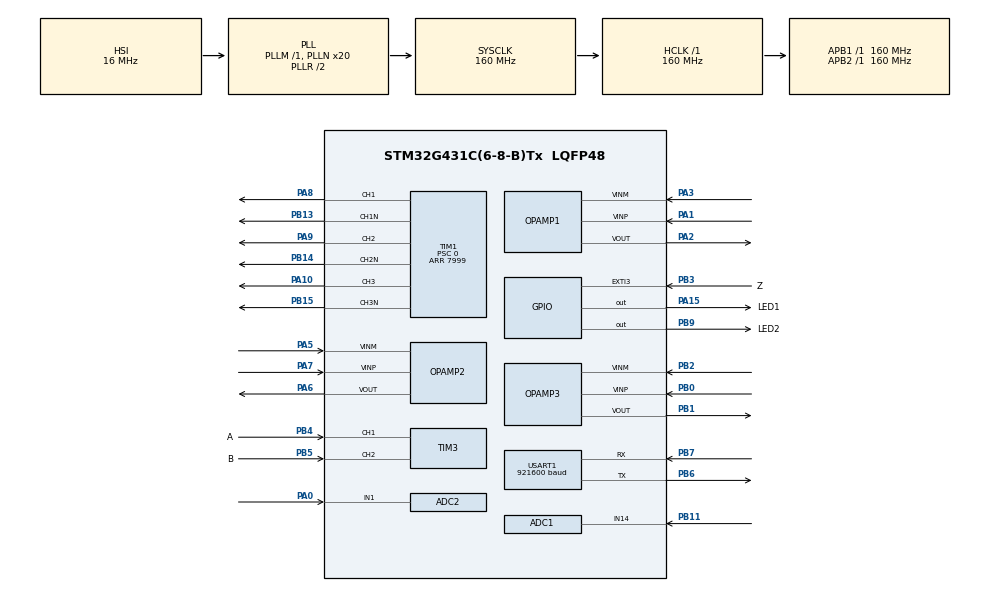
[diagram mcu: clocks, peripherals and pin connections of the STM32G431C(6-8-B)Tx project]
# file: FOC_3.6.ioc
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ADC1.Channel-0\#ChannelRegularConversion=ADC_CHANNEL_14
ADC1.ClockPrescaler=ADC_CLOCK_ASYNC_DIV4
ADC1.EnableInjectedConversion=ENABLE
ADC1.ExternalTrigInjecConv=ADC_EXTERNALTRIGINJEC_T1_CC4
ADC1.InjNumberOfConversion=2
ADC1.InjectedChannel-1\#ChannelInjectedConversion=ADC_CHANNEL_3
ADC1.InjectedChannel-2\#ChannelInjectedConversion=ADC_CHANNEL_12
ADC1.InjectedOffsetNumber-1\#ChannelInjectedConversion=ADC_OFFSET_NONE
ADC1.InjectedOffsetNumber-2\#ChannelInjectedConversion=ADC_OFFSET_NONE
ADC1.InjectedRank-1\#ChannelInjectedConversion=1
ADC1.InjectedRank-2\#ChannelInjectedConversion=2
ADC1.InjectedSamplingTime-1\#ChannelInjectedConversion=ADC_SAMPLETIME_6CYCLES_5
ADC1.InjectedSamplingTime-2\#ChannelInjectedConversion=ADC_SAMPLETIME_6CYCLES_5
ADC1.NbrOfConversionFlag=1
ADC1.OffsetNumber-0\#ChannelRegularConversion=ADC_OFFSET_NONE
ADC1.Rank-0\#ChannelRegularConversion=1
ADC1.SamplingTime-0\#ChannelRegularConversion=ADC_SAMPLETIME_2CYCLES_5
ADC1.master=1
ADC2.Channel-0\#ChannelRegularConversion=ADC_CHANNEL_1
ADC2.ClockPrescaler=ADC_CLOCK_ASYNC_DIV4
ADC2.EnableInjectedConversion=ENABLE
ADC2.ExternalTrigInjecConv=ADC_EXTERNALTRIGINJEC_T1_CC4
ADC2.InjNumberOfConversion=1
ADC2.InjectedChannel-1\#ChannelInjectedConversion=ADC_CHANNEL_3
ADC2.InjectedOffsetNumber-1\#ChannelInjectedConversion=ADC_OFFSET_NONE
ADC2.InjectedRank-1\#ChannelInjectedConversion=1
ADC2.InjectedSamplingTime-1\#ChannelInjectedConversion=ADC_SAMPLETIME_6CYCLES_5
ADC2.NbrOfConversionFlag=1
ADC2.OffsetNumber-0\#ChannelRegularConversion=ADC_OFFSET_NONE
ADC2.Rank-0\#ChannelRegularConversion=1
ADC2.SamplingTime-0\#ChannelRegularConversion=ADC_SAMPLETIME_2CYCLES_5
Dma.Request0=USART1_RX
Dma.Request1=USART1_TX
Dma.USART1_RX.0.Direction=DMA_PERIPH_TO_MEMORY
Dma.USART1_RX.0.EventEnable=DISABLE
Dma.USART1_RX.0.Instance=DMA1_Channel1
Dma.USART1_RX.0.MemDataAlignment=DMA_MDATAALIGN_BYTE
Dma.USART1_RX.0.MemInc=DMA_MINC_ENABLE
Dma.USART1_RX.0.Mode=DMA_NORMAL
Dma.USART1_RX.0.PeriphDataAlignment=DMA_PDATAALIGN_BYTE
Dma.USART1_RX.0.PeriphInc=DMA_PINC_DISABLE
Dma.USART1_RX.0.Polarity=HAL_DMAMUX_REQ_GEN_RISING
Dma.USART1_RX.0.Priority=DMA_PRIORITY_LOW
Dma.USART1_RX.0.RequestNumber=1
Dma.USART1_RX.0.SignalID=NONE
Dma.USART1_RX.0.SyncEnable=DISABLE
Dma.USART1_RX.0.SyncPolarity=HAL_DMAMUX_SYNC_NO_EVENT
Dma.USART1_RX.0.SyncRequestNumber=1
Dma.USART1_RX.0.SyncSignalID=NONE
Dma.USART1_TX.1.Direction=DMA_MEMORY_TO_PERIPH
Dma.USART1_TX.1.EventEnable=DISABLE
Dma.USART1_TX.1.Instance=DMA1_Channel2
Dma.USART1_TX.1.MemDataAlignment=DMA_MDATAALIGN_BYTE
Dma.USART1_TX.1.MemInc=DMA_MINC_ENABLE
Dma.USART1_TX.1.Mode=DMA_NORMAL
Dma.USART1_TX.1.PeriphDataAlignment=DMA_PDATAALIGN_BYTE
Dma.USART1_TX.1.PeriphInc=DMA_PINC_DISABLE
Dma.USART1_TX.1.Polarity=HAL_DMAMUX_REQ_GEN_RISING
Dma.USART1_TX.1.Priority=DMA_PRIORITY_LOW
Dma.USART1_TX.1.RequestNumber=1
Dma.USART1_TX.1.SignalID=NONE
Dma.USART1_TX.1.SyncEnable=DISABLE
Dma.USART1_TX.1.SyncPolarity=HAL_DMAMUX_SYNC_NO_EVENT
Dma.USART1_TX.1.SyncRequestNumber=1
Dma.USART1_TX.1.SyncSignalID=NONE
Mcu.Family=STM32G4
Mcu.Name=STM32G431C(6-8-B)Tx
Mcu.Package=LQFP48
NVIC.ADC1_2_IRQn=true\:0\:0\:false\:false\:true\:true\:true\:true
NVIC.DMA1_Channel1_IRQn=true\:0\:0\:false\:false\:true\:false\:true\:true
NVIC.DMA1_Channel2_IRQn=true\:0\:0\:false\:false\:true\:false\:true\:true
NVIC.EXTI3_IRQn=true\:0\:0\:false\:false\:true\:true\:true\:true
NVIC.PriorityGroup=NVIC_PRIORITYGROUP_4
NVIC.TIM1_UP_TIM16_IRQn=true\:0\:0\:false\:false\:true\:true\:true\:true
NVIC.TIM2_IRQn=true\:0\:0\:false\:false\:true\:true\:true\:true
NVIC.USART1_IRQn=true\:2\:0\:false\:false\:true\:true\:true\:true
PA0.Mode=IN1-Single-Ended
PA0.Signal=ADC2_IN1
PA1.Mode=Standalone
PA1.Signal=OPAMP1_VINP
PA10.Signal=S_TIM1_CH3
PA13.Mode=Serial_Wire
PA13.Signal=SYS_JTMS-SWDIO
PA14.Mode=Serial_Wire
PA14.Signal=SYS_JTCK-SWCLK
PA15.GPIO_Label=LED1
PA15.Signal=GPIO_Output
PA2.Signal=SharedAnalog_PA2
PA3.Mode=Standalone
PA3.Signal=OPAMP1_VINM
PA5.Mode=Standalone
PA5.Signal=OPAMP2_VINM
PA6.Signal=SharedAnalog_PA6
PA7.Mode=Standalone
PA7.Signal=OPAMP2_VINP
PA8.Signal=S_TIM1_CH1
PA9.Signal=S_TIM1_CH2
PB0.Mode=Standalone
PB0.Signal=OPAMP3_VINP
PB1.Signal=SharedAnalog_PB1
PB11.Mode=IN14-Single-Ended
PB11.Signal=ADC1_IN14
PB13.Mode=PWM Generation1 CH1 CH1N
PB13.Signal=TIM1_CH1N
PB14.Mode=PWM Generation2 CH2 CH2N
PB14.Signal=TIM1_CH2N
PB15.Mode=PWM Generation3 CH3 CH3N
PB15.Signal=TIM1_CH3N
PB2.Mode=Standalone
PB2.Signal=OPAMP3_VINM
PB3.GPIO_Label=Z
PB3.GPIO_PuPd=GPIO_PULLUP
PB3.Signal=GPXTI3
PB4.GPIO_Label=A
PB4.GPIO_PuPd=GPIO_PULLUP
PB4.Signal=S_TIM3_CH1
PB5.GPIO_Label=B
PB5.GPIO_PuPd=GPIO_PULLUP
PB5.Signal=S_TIM3_CH2
PB6.Mode=Asynchronous
PB6.Signal=USART1_TX
PB7.Mode=Asynchronous
PB7.Signal=USART1_RX
PB9.GPIO_Label=LED2
PB9.GPIO_PuPd=GPIO_PULLUP
PB9.Signal=GPIO_Output
PC14-OSC32_IN.Mode=LSE-External-Oscillator
PC14-OSC32_IN.Signal=RCC_OSC32_IN
PC15-OSC32_OUT.Mode=LSE-External-Oscillator
PC15-OSC32_OUT.Signal=RCC_OSC32_OUT
PF0-OSC_IN.Mode=HSE-External-Oscillator
PF0-OSC_IN.Signal=RCC_OSC_IN
PF1-OSC_OUT.Mode=HSE-External-Oscillator
PF1-OSC_OUT.Signal=RCC_OSC_OUT
ProjectManager.HeapSize=0x200
ProjectManager.StackSize=0x400
ProjectManager.TargetToolchain=MDK-ARM V5.32
RCC.ADC12Freq_Value=160000000
RCC.AHBFreq_Value=160000000
RCC.APB1Freq_Value=160000000
RCC.APB1TimFreq_Value=160000000
RCC.APB2Freq_Value=160000000
RCC.APB2TimFreq_Value=160000000
RCC.CortexFreq_Value=160000000
RCC.EXTERNAL_CLOCK_VALUE=12288000
RCC.HCLKFreq_Value=160000000
RCC.HSE_VALUE=8000000
RCC.HSI48_VALUE=48000000
RCC.HSI_VALUE=16000000
RCC.PLLN=20
RCC.SYSCLKFreq_VALUE=160000000
RCC.SYSCLKSource=RCC_SYSCLKSOURCE_PLLCLK
RCC.USBFreq_Value=160000000
RCC.VCOOutputFreq_Value=320000000
SH.S_TIM1_CH1.0=TIM1_CH1,PWM Generation1 CH1 CH1N
SH.S_TIM1_CH2.0=TIM1_CH2,PWM Generation2 CH2 CH2N
SH.S_TIM1_CH3.0=TIM1_CH3,PWM Generation3 CH3 CH3N
SH.S_TIM3_CH1.0=TIM3_CH1,Encoder_Interface
SH.S_TIM3_CH2.0=TIM3_CH2,Encoder_Interface
SH.SharedAnalog_PA2.0=ADC1_IN3
SH.SharedAnalog_PA2.1=OPAMP1_VOUT,Standalone
SH.SharedAnalog_PA6.0=ADC2_IN3
SH.SharedAnalog_PA6.1=OPAMP2_VOUT,Standalone
SH.SharedAnalog_PB1.0=ADC1_IN12
SH.SharedAnalog_PB1.1=OPAMP3_VOUT,Standalone
TIM1.Break2Filter=2
TIM1.Break2State=TIM_BREAK2_DISABLE
TIM1.BreakFilter=2
TIM1.BreakState=TIM_BREAK_DISABLE
TIM1.Channel-PWM\ Generation1\ CH1\ CH1N=TIM_CHANNEL_1
TIM1.Channel-PWM\ Generation2\ CH2\ CH2N=TIM_CHANNEL_2
TIM1.Channel-PWM\ Generation3\ CH3\ CH3N=TIM_CHANNEL_3
TIM1.Channel-PWM\ Generation4\ No\ Output=TIM_CHANNEL_4
TIM1.ClockDivision=TIM_CLOCKDIVISION_DIV2
TIM1.CounterMode=TIM_COUNTERMODE_CENTERALIGNED1
TIM1.DeadTime=120
TIM1.OCMode_PWM-PWM\ Generation4\ No\ Output=TIM_OCMODE_PWM2
TIM1.PeriodNoDither=7999
TIM1.Prescaler=0
TIM1.PulseNoDither_4=7998
TIM1.RepetitionCounter=1
TIM1.TIM_MasterOutputTrigger=TIM_TRGO_OC4REF
TIM2.AutoReloadPreload=TIM_AUTORELOAD_PRELOAD_ENABLE
TIM2.PeriodNoDither=7
TIM2.Prescaler=1599
TIM3.EncoderMode=TIM_ENCODERMODE_TI12
TIM3.IC1Filter=1
TIM3.IC2Filter=1
USART1.BaudRate=921600
USART1.VirtualMode-Asynchronous=VM_ASYNC
VP_DAC3_VS_DACI1.Mode=DAC_OUT1_Int
VP_SYS_VS_DBSignals.Mode=DisableDeadBatterySignals
VP_TIM1_VS_ClockSourceINT.Mode=Internal
VP_TIM1_VS_no_output4.Mode=PWM Generation4 No Output
VP_TIM2_VS_ClockSourceINT.Mode=Internal
board=custom

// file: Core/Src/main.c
/* USER CODE BEGIN Header */
/**
  ******************************************************************************
  * @file           : main.c
  * @brief          : Main program body
  ******************************************************************************
  * @attention
  *
  * Copyright (c) 2026 STMicroelectronics.
  * All rights reserved.
  *
  * This software is licensed under terms that can be found in the LICENSE file
  * in the root directory of this software component.
  * If no LICENSE file comes with this software, it is provided AS-IS.
  *
  ******************************************************************************
  */
/* USER CODE END Header */
#include "main.h"
#include "adc.h"
#include "dac.h"
#include "dma.h"
#include "opamp.h"
#include "tim.h"
#include "usart.h"
#include "gpio.h"

/* USER CODE BEGIN Includes */
#include "bsp.h"        /* L1 BSP：总入口 */
#include "foc_state.h"  /* L2 FOC：状态机 / 两个入口 */
#include "app_motor.h"  /* L3 APP：电机业务接口 */
#include "app_vofa.h"   /* L3 APP：VOFA+ 上传 */
#include "app_cmd.h"    /* L3 APP：串口命令 */
#include "usart.h"      /* UART_Rx_Buf / UART_RxCount / UART_HandleFlag */
/* USER CODE END Includes */

/* USER CODE BEGIN PV */
static uint32_t s_tick_us = 0U; /* 1kHz 软定时基准 */
/* USER CODE END PV */

void SystemClock_Config(void);

int main(void)
{

  /* MCU Configuration--------------------------------------------------------*/

  /* Reset of all peripherals, Initializes the Flash interface and the Systick. */
  HAL_Init();

  /* Configure the system clock */
  SystemClock_Config();

  /* Initialize all configured peripherals */
  MX_GPIO_Init();
  MX_DMA_Init();
  MX_TIM1_Init();
  MX_OPAMP1_Init();
  MX_OPAMP2_Init();
  MX_OPAMP3_Init();
  MX_TIM2_Init();
  MX_TIM3_Init();
  MX_ADC1_Init();
  MX_ADC2_Init();
  MX_DAC3_Init();
  MX_USART1_UART_Init();
  /* USER CODE BEGIN 2 */
  /* ★ 四层初始化顺序：平台(MX_xxx_Init) → BSP → FOC → APP */
  BSP_Init();
  FOC_Init();
  App_Motor_Init();
  App_Vofa_Init();
  App_Cmd_Init();
  s_tick_us = Bsp_Time_MicroSec();
  /* USER CODE END 2 */

  /* Infinite loop */
  while (1)
  {

    /* USER CODE BEGIN 3 */
    {
      uint32_t now_us = Bsp_Time_MicroSec();
      if ((now_us - s_tick_us) >= 1000U) /* 1kHz 软定时 */
      {
        s_tick_us += 1000U;
        BSP_Task1kHz();        /* L1：心跳灯 / 母线 / 慢保护 */
        FOC_Task1kHz();        /* L2：状态机 / 速度环 */
        App_Motor_Task1kHz();  /* L3：业务 */
        App_Vofa_Task1kHz();   /* L3：上位机上传 */
        App_Cmd_Task1kHz();    /* L3：命令解析 */
      }
    }
  }
  /* USER CODE END 3 */
}

void SystemClock_Config(void)
{
  RCC_OscInitTypeDef RCC_OscInitStruct = {0};
  RCC_ClkInitTypeDef RCC_ClkInitStruct = {0};

  /** Configure the main internal regulator output voltage
  */
  HAL_PWREx_ControlVoltageScaling(PWR_REGULATOR_VOLTAGE_SCALE1_BOOST);

  /** Initializes the RCC Oscillators according to the specified parameters
  * in the RCC_OscInitTypeDef structure.
  */
  RCC_OscInitStruct.OscillatorType = RCC_OSCILLATORTYPE_HSI;
  RCC_OscInitStruct.HSIState = RCC_HSI_ON;
  RCC_OscInitStruct.HSICalibrationValue = RCC_HSICALIBRATION_DEFAULT;
  RCC_OscInitStruct.PLL.PLLState = RCC_PLL_ON;
  RCC_OscInitStruct.PLL.PLLSource = RCC_PLLSOURCE_HSI;
  RCC_OscInitStruct.PLL.PLLM = RCC_PLLM_DIV1;
  RCC_OscInitStruct.PLL.PLLN = 20;
  RCC_OscInitStruct.PLL.PLLP = RCC_PLLP_DIV2;
  RCC_OscInitStruct.PLL.PLLQ = RCC_PLLQ_DIV2;
  RCC_OscInitStruct.PLL.PLLR = RCC_PLLR_DIV2;
  if (HAL_RCC_OscConfig(&RCC_OscInitStruct) != HAL_OK)
  {
    Error_Handler();
  }

  /** Initializes the CPU, AHB and APB buses clocks
  */
  RCC_ClkInitStruct.ClockType = RCC_CLOCKTYPE_HCLK|RCC_CLOCKTYPE_SYSCLK
                              |RCC_CLOCKTYPE_PCLK1|RCC_CLOCKTYPE_PCLK2;
  RCC_ClkInitStruct.SYSCLKSource = RCC_SYSCLKSOURCE_PLLCLK;
  RCC_ClkInitStruct.AHBCLKDivider = RCC_SYSCLK_DIV1;
  RCC_ClkInitStruct.APB1CLKDivider = RCC_HCLK_DIV1;
  RCC_ClkInitStruct.APB2CLKDivider = RCC_HCLK_DIV1;

  if (HAL_RCC_ClockConfig(&RCC_ClkInitStruct, FLASH_LATENCY_4) != HAL_OK)
  {
    Error_Handler();
  }
}

/* USER CODE BEGIN 4 */
/* ============================================================================
 *  中断入口 —— main.c 只做"转发一行"，逻辑都在 BSP/FOC/APP 层
 * ========================================================================== */

/* 10kHz：ADC1 注入组转换完成（电流环节拍） */
//note : 电流环节拍：更新三相电流 → 过流快检 →（下一层）FOC 电流环
//need : hadc 必须是 hadc1（只有 ADC1 的注入组开了中断）
//return : none
void HAL_ADCEx_InjectedConvCpltCallback(ADC_HandleTypeDef *hadc)
{
  if (hadc == &hadc1)
  {
    Bsp_Adc_UpdateCurrent();              /* 注入组 JDR → ia/ib/ic */
    if (Bsp_Protect_CheckFast() == 0U)
    {
      FOC_CurrentLoop();                  /* L2：电流环（10kHz） */
    }
  }
}

/* 12.5kHz：TIM2 更新中断（ABZ 编码器采样节拍） */
//note : 编码器节拍：转发给 BSP 采样 ABZ 角度/转速
//need : htim->Instance == TIM2
//return : none
void HAL_TIM_PeriodElapsedCallback(TIM_HandleTypeDef *htim)
{
  if (htim->Instance == TIM2)
  {
    BSP_Task12k5Hz();
  }
}

/* Z 信号上升沿 */
//note : 外部中断回调：PB3 的 Z 上升沿交给编码器 BSP 锁存（次数 + 当次 CNT）
//need : GPIO_Pin == Z_Pin
//return : none
void HAL_GPIO_EXTI_Callback(uint16_t GPIO_Pin)
{
  if (GPIO_Pin == Z_Pin)
  {
    Bsp_Enc_ZIsr();
  }
}

/* USART1 空闲中断 + DMA：一帧接收完成 */
//note : 串口帧回调：记录本次帧长并置标志，命令解析留给 APP 层
//need : huart->Instance == USART1
//return : none
void HAL_UARTEx_RxEventCallback(UART_HandleTypeDef *huart, uint16_t Size)
{
  if (huart->Instance == USART1)
  {
    UART_RxCount = (uint8_t)Size;
    UART_HandleFlag = 1U;
    /* 解析不在这里做：App_Cmd_Task1kHz() 里处理并重新挂 DMA */
  }
}
/* USER CODE END 4 */

void Error_Handler(void)
{
  __disable_irq();
  while (1)
  {
  }
}
